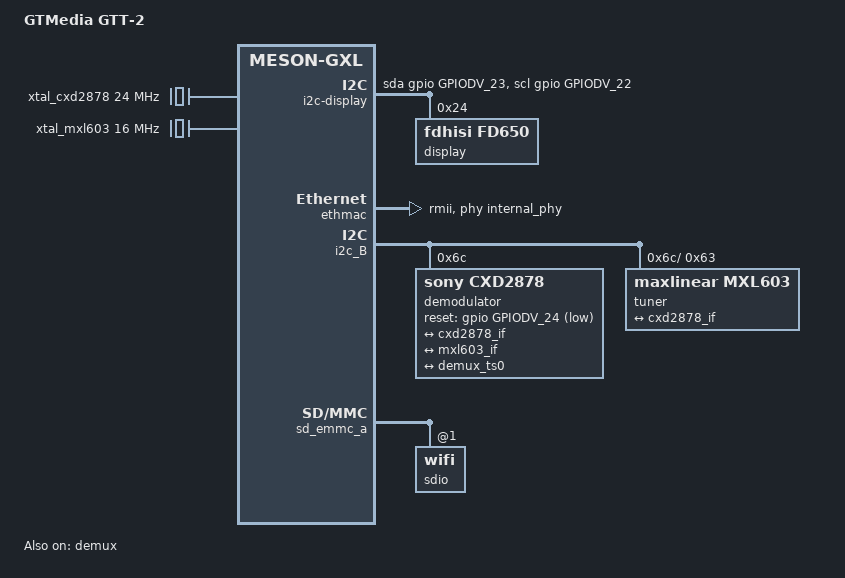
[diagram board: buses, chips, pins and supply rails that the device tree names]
// SPDX-License-Identifier: (GPL-2.0+ OR MIT)
/*
 * Copyright (c) 2026 Marek Czerski <m.czerski@ap-tech.pl>
 */

/dts-v1/;

#include "meson-gxl-s905d.dtsi"
#include "meson-gx-p23x-q20x.dtsi"
#include <dt-bindings/gpio/gpio.h>

/ {
	compatible = "gtmedia,gtt2", "amlogic,s905d", "amlogic,meson-gxl";
	model = "GTMedia GTT-2";

	/* CXD2878 crystal */
	xtal_cxd2878: clock-24000000 {
		compatible = "fixed-clock";
		#clock-cells = <0>;
		clock-frequency = <24000000>;
	};

	/* MxL603 crystal */
	xtal_mxl603: clock-16000000 {
		compatible = "fixed-clock";
		#clock-cells = <0>;
		clock-frequency = <16000000>;
	};

	i2c-display {
		compatible = "i2c-gpio";
		sda-gpios = <&gpio GPIODV_23 (GPIO_ACTIVE_HIGH | GPIO_OPEN_DRAIN)>;
		scl-gpios = <&gpio GPIODV_22 (GPIO_ACTIVE_HIGH | GPIO_OPEN_DRAIN)>;
		i2c-gpio,delay-us = <5>;
		#address-cells = <1>;
		#size-cells = <0>;

		display@24 {
			compatible = "fdhisi,fd650", "titanmec,tm1650";
			reg = <0x24>;

			digits {
				#address-cells = <1>;
				#size-cells = <0>;

				digit@0 {
					reg = <0>;
					segments = <3 0>, <3 6>, <3 4>, <3 2>,
						   <3 1>, <3 7>, <3 5>;
				};

				digit@1 {
					reg = <1>;
					segments = <2 0>, <2 6>, <2 4>, <2 2>,
						   <2 1>, <2 7>, <2 5>;
				};

				digit@2 {
					reg = <2>;
					segments = <1 0>, <1 6>, <1 4>, <1 2>,
						   <1 1>, <1 7>, <1 5>;
				};

				digit@3 {
					reg = <3>;
					segments = <0 0>, <0 6>, <0 4>, <0 2>,
						   <0 1>, <0 7>, <0 5>;
				};
			};

			leds {
				#address-cells = <2>;
				#size-cells = <0>;

				led@2,3 {
					reg = <2 3>;
					function = "colon";
				};
			};
		};
	};
};

/* TS0: tsin_a, parallel (vendor ts0 = "parallel", ts0_control = 0) */
&demux {
	pinctrl-0 = <&tsin_a_parallel_pins>;
	pinctrl-names = "default";
	status = "okay";

	ports {
		#address-cells = <1>;
		#size-cells = <0>;

		port@0 {
			reg = <0>;

			demux_ts0: endpoint {
				remote-endpoint = <&cxd2878_ts>;
				bus-width = <8>;
			};
		};
	};
};

/* P231 has only internal PHY port */
&ethmac {
	phy-mode = "rmii";
	phy-handle = <&internal_phy>;
};

&i2c_B {
	status = "okay";
	pinctrl-0 = <&i2c_b_pins>;
	pinctrl-names = "default";

	demodulator@6c {
		compatible = "sony,cxd2878";
		reg = <0x6c>;
		clocks = <&xtal_cxd2878>;
		reset-gpios = <&gpio GPIODV_24 GPIO_ACTIVE_LOW>;

		i2c-gate {
			#address-cells = <1>;
			#size-cells = <0>;

			tuner@63 {
				compatible = "maxlinear,mxl603";
				reg = <0x63>;
				clocks = <&xtal_mxl603>;
				maxlinear,xtal-cap = <16>;
				maxlinear,invert-if;

				ports {
					#address-cells = <1>;
					#size-cells = <0>;

					port@1 {
						reg = <1>;

						mxl603_if: endpoint {
							remote-endpoint = <&cxd2878_if>;
						};
					};
				};
			};
		};

		ports {
			#address-cells = <1>;
			#size-cells = <0>;

			port@0 {
				reg = <0>;

				cxd2878_if: endpoint {
					remote-endpoint = <&mxl603_if>;
				};
			};

			port@1 {
				reg = <1>;

				cxd2878_ts: endpoint {
					remote-endpoint = <&demux_ts0>;
					bus-width = <8>;
				};
			};
		};
	};
};

&sd_emmc_a {
	sdio: wifi@1 {
		reg = <1>;
	};
};
